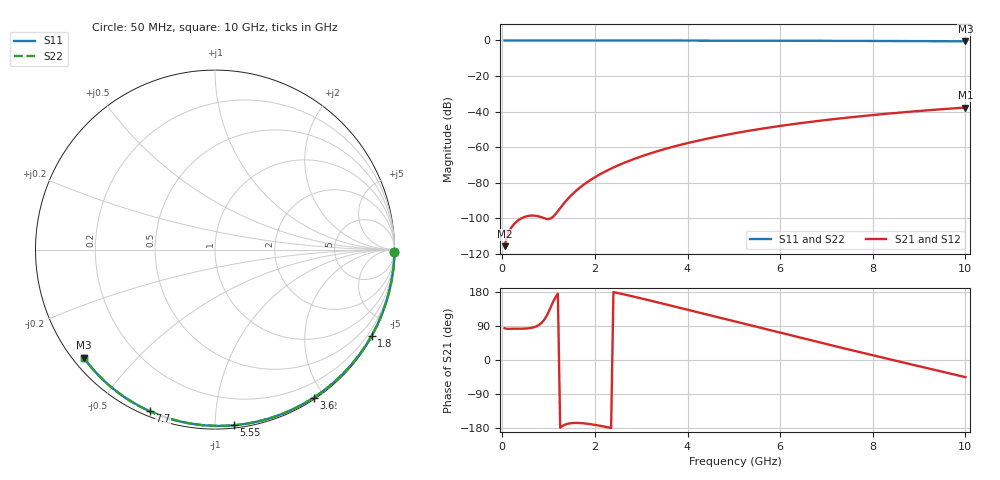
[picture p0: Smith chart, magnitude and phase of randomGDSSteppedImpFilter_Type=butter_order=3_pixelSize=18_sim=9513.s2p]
! freq	dB(S11)	phase(S11)	dB(S12)	phase(S12)
!  dB(S21)	phase(S21)	dB(S22)	phase(S22)
!S-par simulation data
#  GHz  S  DB  R 50
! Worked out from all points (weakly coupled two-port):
!   200 points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, 50 MHz to 10 GHz, reference 50 ohm
!   highest |S21| = -37.71 dB at 10 GHz (marker M1); lowest = -115.6 dB at 50 MHz (marker M2)
!   lowest |S11| = -0.5 dB at 10 GHz (marker M3), VSWR 37.10, Z = 1.52 - j17.9 ohm
!   |S11| at or under -10 dB: nowhere
!   |S22| runs from -0.5 to 0.0 dB; largest |S21 - S12| = 0
!   S11 on the Smith chart (normalised r, x): 50 MHz: open; 1.8 GHz: 0.03, -3.89; 3.6 GHz: 0.02, -1.87; 5.55 GHz: 0.02, -1.11; 7.7 GHz: 0.02, -0.67; 10 GHz: 0.03, -0.36
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0.05  -0.00 -0.8  -115.63 83.8  -115.63 83.8  -0.00 -0.8
0.45  -0.01 -7.3  -99.51 82.7  -99.51 82.7  -0.01 -7.3
0.9  -0.02 -14.6  -99.85 105.2  -99.85 105.2  -0.02 -14.6
1.75  -0.04 -28.0  -81.20 -167.0  -81.20 -167.0  -0.04 -28.0
1.8  -0.04 -28.8  -80.26 -167.7  -80.26 -167.7  -0.04 -28.8
1.85  -0.04 -29.6  -79.36 -168.4  -79.36 -168.4  -0.04 -29.6
2  -0.04 -31.9  -76.87 -171.2  -76.87 -171.2  -0.04 -31.9
2.15  -0.04 -34.3  -74.65 -174.5  -74.65 -174.5  -0.04 -34.3
2.35  -0.05 -37.4  -72.01 -179.4  -72.01 -179.4  -0.05 -37.4
2.55  -0.05 -40.5  -69.66 175.3  -69.66 175.3  -0.05 -40.5
2.95  -0.06 -46.5  -65.63 164.0  -65.63 164.0  -0.06 -46.6
3.4  -0.07 -53.3  -61.85 150.8  -61.85 150.8  -0.07 -53.3
3.6  -0.08 -56.3  -60.36 144.8  -60.36 144.8  -0.08 -56.3
4.3  -0.09 -66.4  -55.89 123.5  -55.89 123.5  -0.09 -66.5
5.05  -0.12 -77.0  -52.01 100.7  -52.01 100.7  -0.12 -77.0
5.55  -0.14 -83.9  -49.82 85.5  -49.82 85.5  -0.14 -83.9
6.1  -0.16 -91.3  -47.68 68.9  -47.68 68.9  -0.16 -91.3
6.7  -0.19 -99.2  -45.62 50.9  -45.62 50.9  -0.19 -99.2
7.7  -0.25 -112.0  -42.70 21.3  -42.70 21.3  -0.25 -112.0
8.35  -0.30 -120.1  -41.08 2.3  -41.08 2.3  -0.30 -120.1
9.2  -0.38 -130.7  -39.22 -22.2  -39.22 -22.2  -0.38 -130.7
10  -0.47 -140.5  -37.71 -45.2  -37.71 -45.2  -0.47 -140.5
